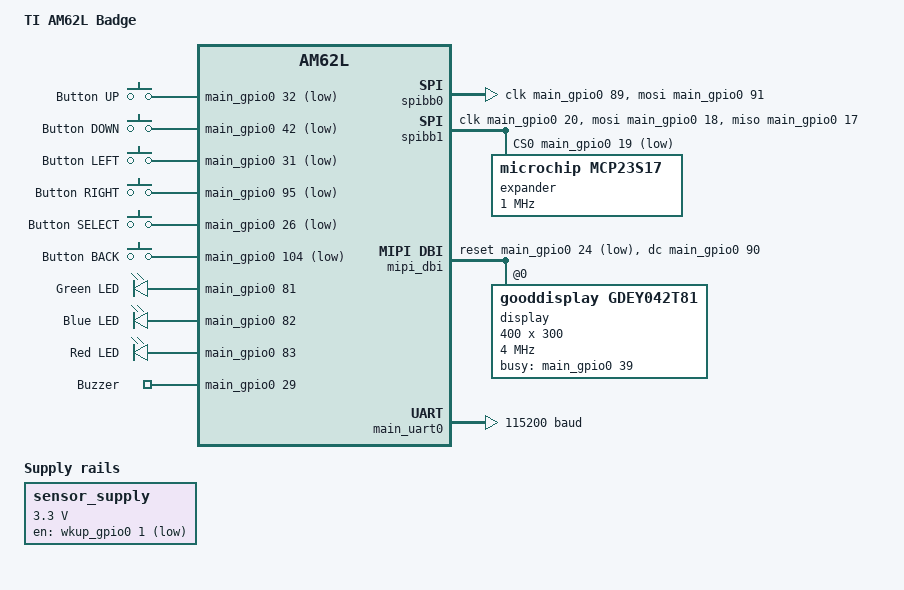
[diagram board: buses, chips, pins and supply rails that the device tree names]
/*
 * Copyright (C) 2025 Texas Instruments Incorporated - https://www.ti.com/
 *
 * SPDX-License-Identifier: Apache-2.0
 */

/dts-v1/;

#include <ti/am62l3_a53.dtsi>
#include <zephyr/dt-bindings/input/input-event-codes.h>

#include "am62l_badge_am62l3_a53-pinctrl.dts"

/ {
	model = "TI AM62L Badge";
	compatible = "ti,am62l_badge";

	aliases {
		btn-up = &btn_up;
		btn-down = &btn_down;
		btn-left = &btn_left;
		btn-right = &btn_right;
		btn-back = &btn_back;
		btn-select = &btn_select;
		led-red = &led_red;
		led-green = &led_green;
		led-blue = &led_blue;
		buzzer = &buzzer;
		expander = &expander;
	};

	chosen {
		zephyr,console = &main_uart0;
		zephyr,shell-uart = &main_uart0;
		zephyr,sram = &ddr0;
		zephyr,display = &display;
	};

	cpus {
		cpu@0 {
			status = "okay";
		};

		cpu@1 {
			status = "okay";
		};
	};

	ddr0: memory@82000000 {
		reg = <0x82000000 (DT_SIZE_M(128) - DT_SIZE_M(32))>;
	};

	buttons {
		compatible = "gpio-keys";

		btn_up: joystick-up {
			label = "Button UP";
			gpios = <&main_gpio0 32 GPIO_ACTIVE_LOW>; // N19
			zephyr,code = <INPUT_KEY_UP>;
		};

		btn_down: joystick-down {
			label = "Button DOWN";
			gpios = <&main_gpio0 42 GPIO_ACTIVE_LOW>; // L19
			zephyr,code = <INPUT_KEY_DOWN>;
		};
		
		btn_left: joystick-left {
			label = "Button LEFT";
			gpios = <&main_gpio0 31 GPIO_ACTIVE_LOW>; // L21
			zephyr,code = <INPUT_KEY_LEFT>;
		};
		
		btn_right: joystick-right {
			label = "Button RIGHT";
			gpios = <&main_gpio0 95 GPIO_ACTIVE_LOW>; // B13
			zephyr,code = <INPUT_KEY_RIGHT>;
		};

		btn_select: button-select {
			label = "Button SELECT";
			gpios = <&main_gpio0 26 GPIO_ACTIVE_LOW>; // H18
			zephyr,code = <INPUT_KEY_ENTER>;
		};
		
		btn_back: button-back {
			label = "Button BACK";
			gpios = <&main_gpio0 104 GPIO_ACTIVE_LOW>; // D16
			zephyr,code = <INPUT_KEY_BACK>;
		};
	};

	leds {
		compatible = "gpio-leds";

		led_green: led_0 {
			gpios = <&main_gpio0 81 GPIO_ACTIVE_HIGH>;
			label = "Green LED";
		};

		led_blue: led_1 {
			gpios = <&main_gpio0 82 GPIO_ACTIVE_HIGH>;
			label = "Blue LED";
		};

		led_red: led_2 {
			gpios = <&main_gpio0 83 GPIO_ACTIVE_HIGH>;
			label = "Red LED";
		};
	};

	buzzers {
		compatible = "gpio-leds"; // Move this to PWM when that starts working

		buzzer: buzzer_0 {
			gpios = <&main_gpio0 29 GPIO_ACTIVE_HIGH>;
			label = "Buzzer";
		};
	};

	/* Bitbang SPI until real SPI is fixed */
	spibb0: spibb0 {
		compatible = "zephyr,spi-bitbang";
		status = "okay";
		#address-cells = <1>;
		#size-cells = <0>;

		clk-gpios = <&main_gpio0 89 GPIO_ACTIVE_HIGH>; // E13
		cs-gpios = <&main_gpio0 87 GPIO_ACTIVE_LOW>; // E11
		mosi-gpios = <&main_gpio0 91 GPIO_ACTIVE_HIGH>; // B12
	};

	spibb1: spibb1 {
		compatible = "zephyr,spi-bitbang";
		status = "okay";
		#address-cells = <1>;
		#size-cells = <0>;

		clk-gpios = <&main_gpio0 20 GPIO_ACTIVE_HIGH>; // H22
		mosi-gpios = <&main_gpio0 18 GPIO_ACTIVE_HIGH>; // J23
		miso-gpios = <&main_gpio0 17 GPIO_ACTIVE_HIGH>; // K22
		cs-gpios = <&main_gpio0 19 GPIO_ACTIVE_LOW>; // K23

		expander: mcp23s18@0 {
			compatible = "microchip,mcp23s17";
			reg = <0>;
			spi-max-frequency = <1000000>;
			gpio-controller;
			#gpio-cells = <2>;
			ngpios = <16>;
			status = "okay";
		};
	};

	sensor_supply: sensor-supply {
		compatible = "regulator-fixed";
		regulator-name = "sensor_supply";
		regulator-min-microvolt = <3300000>;
		regulator-max-microvolt = <3300000>;
		enable-gpios = <&wkup_gpio0 1 GPIO_ACTIVE_LOW>;
		regulator-boot-on;
		regulator-always-on;
	};

	mipi_dbi {
		compatible = "zephyr,mipi-dbi-spi";
		spi-dev = <&spibb0>;
//		spi-dev = <&main_spi0>;
//		write-only;

		dc-gpios = <&main_gpio0 90 GPIO_ACTIVE_HIGH>; // E12
		reset-gpios = <&main_gpio0 24 GPIO_ACTIVE_LOW>; // H20

		#address-cells = <1>;
		#size-cells = <0>;

		display: ssd1683fb@0 {
			compatible = "gooddisplay,gdey042t81", "solomon,ssd1683";
			mipi-max-frequency = <4000000>;
			reg = <0>;
			width = <400>;
			height = <300>;
//			rotation = <270>;
			busy-gpios = <&main_gpio0 39 GPIO_ACTIVE_HIGH>; // N21

			tssv = <0x80>; // Internal temp sensor

//			softstart = [8B 9C 96 0F]; // POR		
//			softstart = [8B 9C A4 0F]; // Used for 4Gray?

			full {
//				border-waveform = <0x03>;

//				gdv = [10 0a];
//				sdv = [19];
//				vcom = <0xa8>;

//				lut = [22 55 AA 55 AA 55 AA 11
//				       00 00 00 00 00 00 00 00
//				       1E 1E 1E 1E 1E 1E 1E 1E
//				       01 00 00 00 00];
			};

			partial {
//				border-waveform = <0x05>;

//				gdv = [17];
//				sdv = [28 8F 1E];
//				vcom = <0x30>;
//				border-waveform = <0x71>;

// 0: 
// 4: + (black)
// 8: - (white)

/*
				lut = [	01  01 00 00 00  01 00 // 0 0 0 0
					00  00 00 00 00  00 00
					00  00 00 00 00  00 00
					00  00 00 00 00  00 00
					00  00 00 00 00  00 00
					00  00 00 00 00  00 00
// WW (11)
					01  81 00 00 00  01 00 // - - - 0
					00  00 00 00 00  00 00
					00  00 00 00 00  00 00
					00  00 00 00 00  00 00
					00  00 00 00 00  00 00
					00  00 00 00 00  00 00
// WB (10)
					01  41 00 00 00  01 00 // + + + 0
					00  00 00 00 00  00 00
					00  00 00 00 00  00 00
					00  00 00 00 00  00 00
					00  00 00 00 00  00 00
					00  00 00 00 00  00 00
// BW (01)
					01  81 00 00 00  01 00 // - - - 0
					00  00 00 00 00  00 00
					00  00 00 00 00  00 00
					00  00 00 00 00  00 00
					00  00 00 00 00  00 00
					00  00 00 00 00  00 00
// BB (00)
					01  41 00 00 00  01 00 // + + + 0
					00  00 00 00 00  00 00
					00  00 00 00 00  00 00
					00  00 00 00 00  00 00
					00  00 00 00 00  00 00
					00  00 00 00 00  00 00

					00 00 00 00 00 00 00
					00 00 00 00 00 00 00

					05 00 00];
					*/
			};
		};
	};
};

&main_uart0 {
	current-speed = <115200>;
	pinctrl-0 = <&uart0_rx_default>,
		    <&uart0_tx_default>;
	pinctrl-names = "default";
	status = "okay";
};

&main_gpio0_0 {
	pinctrl-0 = <&dc_pins_default>,
		    <&res_pins_default>,
		    <&busy_pins_default>,
		    <&clk_pins_default>,
		    <&cs0_pins_default>,
		    <&mosi_pins_default>,
		    <&button_pins_bank0>,
		    <&buzzer_pins_default>,
		    <&spibb1_pins_default>;
	pinctrl-names = "default";
	status = "okay";
};

&main_gpio0_1 {
	status = "okay";
};

&main_gpio0_2 {
	status = "okay";
};

&main_gpio0_3 {
	status = "okay";
};

&wkup_gpio0 {
	status = "okay";
};

//&main_spi1 {
//	status = "okay";
//	pinctrl-0 = <&main_spi1_clk_default>,
//		    <&main_spi1_cs0_default>,
//		    <&main_spi1_d1_default>;
//	pinctrl-names = "default";
//
//	gpio_expander: mcp23s18@1 {
//		compatible = "microchip,mcp23s18";
//		spi-max-frequency = <0>;
//		reg = <0x01>;
//		gpio-controller;
//		#gpio-cells = <2>;
//		ngpios = <16>;
//	};
//};
